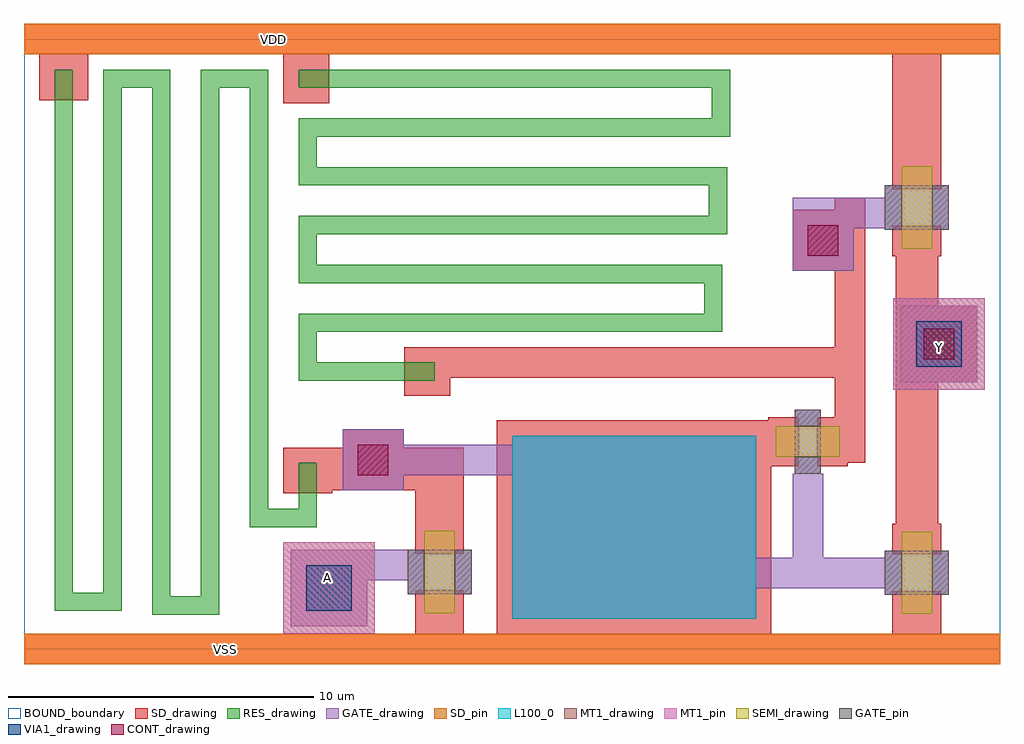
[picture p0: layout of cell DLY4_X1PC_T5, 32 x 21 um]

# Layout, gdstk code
from math import pi, radians
import gdstk
lib = gdstk.Library(unit=1e-6, precision=1e-09)
def R(c, l, rs):  # rectangles x0, y0, x1, y1
    for r in rs: c.add(gdstk.rectangle(r[:2], r[2:], *l))
def P(c, l, *ps):  # polygons
    for p in ps: c.add(gdstk.Polygon(p, *l))
RES_drawing = (1, 0)
SEMI_drawing = (3, 0)
SD_drawing = (10, 0)
SD_pin = (10, 3)
GATE_drawing = (11, 0)
GATE_pin = (11, 3)
MT1_drawing = (20, 0)
MT1_pin = (20, 3)
CONT_drawing = (30, 0)
VIA1_drawing = (41, 0)
L100_0 = (100, 0)
BOUND_boundary = (150, 5)

nch_cdns_772544866980 = lib.new_cell('nch_CDNS_772544866980')
R(nch_cdns_772544866980, SEMI_drawing, [(-1.05,-0.5,1.05,0.5)])
R(nch_cdns_772544866980, SD_drawing, [(-1.3,-0.8,-0.3,0.8), (0.3,-0.8,1.3,0.8)])
R(nch_cdns_772544866980, GATE_drawing, [(-0.425,-1.05,0.425,1.05)])
R(nch_cdns_772544866980, GATE_pin, [(-0.425,-1.05,0.425,-0.5), (-0.425,0.5,0.425,1.05)])

nch_cdns_772544866981 = lib.new_cell('nch_CDNS_772544866981')
R(nch_cdns_772544866981, SEMI_drawing, [(-1.35,-0.5,1.35,0.5)])
R(nch_cdns_772544866981, SD_drawing, [(-1.6,-0.8,-0.6,0.8), (0.6,-0.8,1.6,0.8)])
R(nch_cdns_772544866981, GATE_drawing, [(-0.725,-1.05,0.725,1.05)])
R(nch_cdns_772544866981, GATE_pin, [(-0.725,-1.05,0.725,-0.5), (-0.725,0.5,0.725,1.05)])

cap_cdns_772544866982 = lib.new_cell('cap_CDNS_772544866982')
R(cap_cdns_772544866982, SD_drawing, [(-4.5,-3.5,4.5,3.5)])
R(cap_cdns_772544866982, GATE_drawing, [(-4,-3,4,3)])
R(cap_cdns_772544866982, L100_0, [(-4,-3,4,3)])

sd_gate_cdns_77254486698 = lib.new_cell('SD_GATE_CDNS_772544866980')
R(sd_gate_cdns_77254486698, SD_drawing, [(-1,-1,1,1)])
R(sd_gate_cdns_77254486698, GATE_drawing, [(-1,-1,1,1)])
R(sd_gate_cdns_77254486698, CONT_drawing, [(-0.5,-0.5,0.5,0.5)])

c_sd_gate_cdns_77254486698 = lib.new_cell('SD_GATE_CDNS_772544866981')
R(c_sd_gate_cdns_77254486698, SD_drawing, [(-1.25,-1.25,1.25,1.25)])
R(c_sd_gate_cdns_77254486698, GATE_drawing, [(-1,-1,1,1)])
R(c_sd_gate_cdns_77254486698, CONT_drawing, [(-0.5,-0.5,0.5,0.5)])

gate_mt1_cdns_7725448669 = lib.new_cell('GATE_MT1_CDNS_772544866982')
R(gate_mt1_cdns_7725448669, GATE_drawing, [(-1.25,-1.25,1.25,1.25)])
R(gate_mt1_cdns_7725448669, MT1_drawing, [(-1.25,-1.25,1.25,1.25)])
R(gate_mt1_cdns_7725448669, VIA1_drawing, [(-0.75,-0.75,0.75,0.75)])

dly4_x1pc_t5 = lib.new_cell('DLY4_X1PC_T5')
R(dly4_x1pc_t5, SD_drawing, [(0,-0.5,32,0.5), (8.5,5.1,10.1,6.6), (12.475,8.3,13.975,9.9), (8.5,17.9,10,19.5), (0.5,18,2.1,19.5), (0,19.5,32,20.5)])
R(dly4_x1pc_t5, SD_pin, [(0,-0.5,32,0.5), (0,19.5,32,20.5)])
R(dly4_x1pc_t5, GATE_drawing, [(11.25,2.25,12.575,3.25), (25.2,13.8,28.275,14.8)])
P(dly4_x1pc_t5, GATE_drawing, [(25.2,5.65),(26.2,5.65),(26.2,5.75),(26.075,5.75),(26.075,5.8),(25.325,5.8),(25.325,5.75),(25.2,5.75)])
R(dly4_x1pc_t5, MT1_drawing, [(8.5,0.5,11.5,3.5), (28.5,8.5,31.5,11.5)])
R(dly4_x1pc_t5, MT1_pin, [(8.5,0.5,11.5,3.5), (28.5,8.5,31.5,11.5)])
R(dly4_x1pc_t5, BOUND_boundary, [(0,0,32,20)])
dly4_x1pc_t5.add(gdstk.FlexPath([(27.725,2.5),(26.2,2.5)], 1, ends=(0.5, 0), simple_path=True, layer=11, datatype=0))  # GATE_drawing
dly4_x1pc_t5.add(gdstk.FlexPath([(11.45,6.2),(16,6.2)], 1, ends="flush", simple_path=True, layer=11, datatype=0))  # GATE_drawing
dly4_x1pc_t5.add(gdstk.FlexPath([(25.7,2.5),(22.175,2.5)], 1, ends=(0.5, 0), simple_path=True, layer=11, datatype=0))  # GATE_drawing
dly4_x1pc_t5.add(gdstk.FlexPath([(25.7,5.65),(25.7,2.5)], 1, ends=(0, 0.5), simple_path=True, layer=11, datatype=0))  # GATE_drawing
dly4_x1pc_t5.add(gdstk.FlexPath([(25.875,9.4),(13.975,9.4)], 1, ends=(0.7, 0), simple_path=True, layer=10, datatype=0))  # SD_drawing
dly4_x1pc_t5.add(gdstk.FlexPath([(27.075,6.6),(27.075,14.1)], 1, ends=(0.5, 0.7), simple_path=True, layer=10, datatype=0))  # SD_drawing
dly4_x1pc_t5.add(gdstk.FlexPath([(14.325,5.9),(13.625,5.9)], 1.4, ends=(0, 0.8), simple_path=True, layer=10, datatype=0))  # SD_drawing
dly4_x1pc_t5.add(gdstk.FlexPath([(13.625,4.125),(13.625,5.9)], 1.6, ends=(0, 0.7), simple_path=True, layer=10, datatype=0))  # SD_drawing
dly4_x1pc_t5.add(gdstk.FlexPath([(29.275,16.075),(29.275,19.5)], 1.6, ends="flush", simple_path=True, layer=10, datatype=0))  # SD_drawing
dly4_x1pc_t5.add(gdstk.FlexPath([(13.625,5.9),(10.1,5.9)], 1.4, ends=(0.8, 0), simple_path=True, layer=10, datatype=0))  # SD_drawing
dly4_x1pc_t5.add(gdstk.FlexPath([(29.275,12.875),(29.275,4.1)], 1.4, ends="flush", simple_path=True, layer=10, datatype=0))  # SD_drawing
dly4_x1pc_t5.add(gdstk.FlexPath([(29.275,0.9),(29.275,0.5)], 1.6, ends="flush", simple_path=True, layer=10, datatype=0))  # SD_drawing
dly4_x1pc_t5.add(gdstk.FlexPath([(13.625,0.925),(13.625,0.5)], 1.6, ends="flush", simple_path=True, layer=10, datatype=0))  # SD_drawing
dly4_x1pc_t5.add(gdstk.FlexPath([(1.3,18),(1.3,1.55),(2.9,1.55),(2.9,18.7),(4.5,18.7),(4.5,1.425),(6.1,1.425),(6.1,18.7),(7.7,18.7),(7.7,4.3),(9.3,4.3),(9.3,5.1)], 0.6, ends=(1, 1), simple_path=True, layer=1, datatype=0))  # RES_drawing
dly4_x1pc_t5.add(gdstk.FlexPath([(10,18.7),(22.85,18.7),(22.85,17.1),(9.3,17.1),(9.3,15.5),(22.75,15.5),(22.75,13.9),(9.3,13.9),(9.3,12.3),(22.6,12.3),(22.6,10.7),(9.3,10.7),(9.3,9.1),(12.475,9.1)], 0.6, ends=(1, 1), simple_path=True, layer=1, datatype=0))  # RES_drawing
dly4_x1pc_t5.add(gdstk.Reference(nch_cdns_772544866980, (25.7,6.8)))
dly4_x1pc_t5.add(gdstk.Reference(nch_cdns_772544866981, (29.275,2.5), rotation=pi/2))
dly4_x1pc_t5.add(gdstk.Reference(nch_cdns_772544866981, (29.275,14.475), rotation=pi/2))
dly4_x1pc_t5.add(gdstk.Reference(nch_cdns_772544866981, (13.625,2.525), rotation=pi/2))
dly4_x1pc_t5.add(gdstk.Reference(cap_cdns_772544866982, (20,4)))
dly4_x1pc_t5.add(gdstk.Reference(sd_gate_cdns_77254486698, (26.2,13.4)))
dly4_x1pc_t5.add(gdstk.Reference(sd_gate_cdns_77254486698, (11.45,6.2)))
dly4_x1pc_t5.add(gdstk.Reference(c_sd_gate_cdns_77254486698, (30,10)))
dly4_x1pc_t5.add(gdstk.Reference(gate_mt1_cdns_7725448669, (10,2)))
dly4_x1pc_t5.add(gdstk.Reference(gate_mt1_cdns_7725448669, (30,10)))
dly4_x1pc_t5.add(gdstk.Label('VDD', (8.175,20), layer=10, texttype=3))
dly4_x1pc_t5.add(gdstk.Label('VSS', (6.6,0), layer=10, texttype=3))
dly4_x1pc_t5.add(gdstk.Label('Y', (30,9.875), layer=20, texttype=0))
dly4_x1pc_t5.add(gdstk.Label('Y', (30.275,10), layer=20, texttype=3))
dly4_x1pc_t5.add(gdstk.Label('A', (9.95,2.35), layer=20, texttype=3))

lib.write_gds('DLY4_X1PC_T5.gds')
